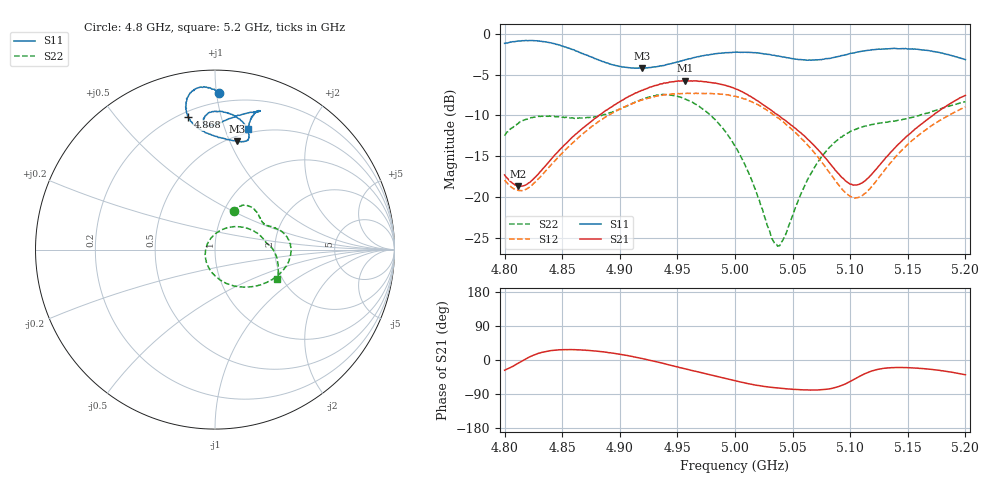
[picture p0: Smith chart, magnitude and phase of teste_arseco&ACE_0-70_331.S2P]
! Network Analyzer HP8722D
! Hewlett-Packard
! Data name: Linha & Wilkinson
! Saver's name: Rodrigo Anjos
! Comments: Teste da utilização de aquisição
! continua pelo VNA HP8722D
! Time and date: 8/5/2025 15:31
!  Frequency  S11  S21  S12  S22
# HZ  S  MA R 50
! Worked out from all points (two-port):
!   401 points, 4.8 GHz to 5.2 GHz, reference 50 ohm
!   highest |S21| = -5.74 dB at 4.957 GHz (marker M1); lowest = -18.7 dB at 4.812 GHz (marker M2)
!   |S21| within 3 dB of the highest: 4.895 GHz to 5.025 GHz (130.1 MHz wide, 2.62 % of centre); 5.184572 GHz to end of sweep
!   lowest |S11| = -4.2 dB at 4.919 GHz (marker M3), VSWR 4.20, Z = 27.4 + j53.1 ohm
!   |S11| at or under -10 dB: nowhere
!   |S22| runs from -26.0 to -7.4 dB; largest |S21 - S12| = 0.89
!   S11 on the Smith chart (normalised r, x): 4.8 GHz: 0.14, +1.02; 4.868 GHz: 0.23, +0.79; 5.2 GHz: 0.46, +1.20
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4.8e9  0.873 88.5  0.1367 -27.0  0.1269 100.6  0.2373 64.1
4.812e9  0.9023 92.0  0.1164 -8.1  0.1098 116.7  0.283 59.1
4.845e9  0.8604 100.3  0.1851 26.2  0.1707 150.1  0.3109 39.7
4.867e9  0.7576 101.6  0.2613 26.4  0.2407 153.4  0.3046 30.4
4.868e9  0.7553 101.4  0.2646 26.1  0.2444 153.4  0.3047 30.1
4.896e9  0.6396 91.8  0.3686 17.2  0.3341 147.4  0.3365 22.5
4.919e9  0.6152 78.6  0.45 4.2  0.3919 137.8  0.3956 12.9
4.934e9  0.6317 73.7  0.489 -6.1  0.418 129.3  0.4206 2.9
4.957e9  0.6935 74.8  0.5162 -23.4  0.4309 114.8  0.3976 -16.4
4.981e9  0.7493 81.2  0.5002 -41.0  0.4298 99.6  0.3058 -41.4
5e9  0.7703 87.4  0.4608 -54.8  0.4148 86.4  0.205 -69.2
5.019e9  0.7634 92.4  0.3904 -66.9  0.3699 73.3  0.1046 -110.1
5.032e9  0.7397 94.5  0.3382 -72.3  0.3248 65.9  0.05579 -162.5
5.037e9  0.7316 94.8  0.319 -73.9  0.3056 63.8  0.05007 164.5
5.043e9  0.719 94.9  0.2967 -75.7  0.2841 61.7  0.05704 127.9
5.067e9  0.6901 92.6  0.2127 -79.3  0.1939 57.9  0.1434 58.8
5.084e9  0.711 87.0  0.1554 -75.0  0.1352 63.9  0.2076 36.0
5.103e9  0.7632 79.3  0.1184 -51.8  0.09925 90.4  0.2573 19.6
5.115e9  0.7906 75.3  0.1299 -33.2  0.1087 111.5  0.2752 13.0
5.134e9  0.8086 72.3  0.1839 -20.5  0.1588 125.9  0.2898 7.4
5.17e9  0.7844 73.9  0.3093 -24.6  0.2719 120.6  0.3322 -2.4
5.2e9  0.6949 74.7  0.4192 -39.0  0.3561 108.9  0.383 -25.7
